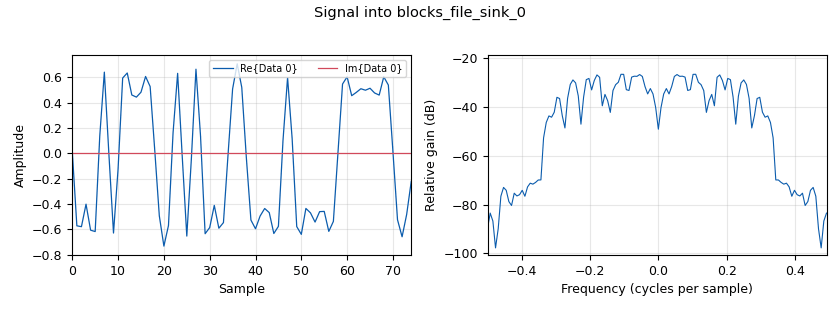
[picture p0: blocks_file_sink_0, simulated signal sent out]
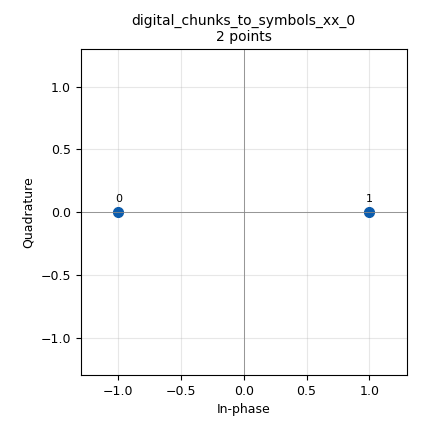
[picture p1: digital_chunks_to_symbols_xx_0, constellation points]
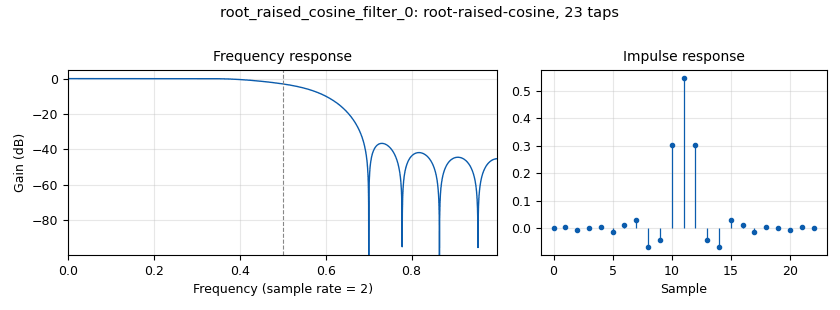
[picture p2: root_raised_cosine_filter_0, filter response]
options:
  parameters:
    copyright: University of Melbourne
    generate_options: qt_gui
    id: modulate_sync_word
    output_language: python
    title: Modulate Sync Word
  states: {}

blocks:
- name: constel
  id: variable_constellation
  parameters:
    precision: '8'
    type: bpsk
  states: {}
- name: excess_bw
  id: variable
  parameters:
    value: '0.35'
  states: {}
- name: nsamps
  id: variable
  parameters:
    value: sps*nsymbs
  states: {}
- name: nsymbs
  id: variable
  parameters:
    value: 8*len(preamble)//constel.bits_per_symbol()
  states: {}
- name: ntaps
  id: variable
  parameters:
    value: 11*sps
  states: {}
- name: preamble
  id: variable
  parameters:
    value: digital.packet_utils.default_access_code_binary
  states: {}
- name: sps
  id: variable
  parameters:
    value: '2'
  states: {}
- name: analog_const_source_x_0
  id: analog_const_source_x
  parameters:
    const: '0'
    type: complex
  states: {}
- name: blocks_file_sink_0
  id: blocks_file_sink
  parameters:
    comment: |-
      Saves modulate sync word samples to 
      binary file. You can load in Python using 
      numpy:

      numpy.fromfile(<filename>, dtype=np.complex64)
    file: modulated_sync_word.bin
    type: complex
  states: {}
- name: blocks_head_0
  id: blocks_head
  parameters:
    num_items: nsamps
    type: complex
  states: {}
- name: blocks_packed_to_unpacked_xx_0
  id: blocks_packed_to_unpacked_xx
  parameters:
    bits_per_chunk: constel.bits_per_symbol()
    endianness: gr.GR_MSB_FIRST
    type: byte
  states: {}
- name: blocks_skiphead_0
  id: blocks_skiphead
  parameters:
    comment: |-
      Skip ramp up samples of RRC
      transmit pulse-shaping filter
    num_items: ntaps//2
    type: complex
  states: {}
- name: blocks_stream_mux_0
  id: blocks_stream_mux
  parameters:
    lengths: (nsymbs, ntaps//2)
    type: complex
  states: {}
- name: blocks_vector_source_x_0
  id: blocks_vector_source_x
  parameters:
    repeat: 'True'
    type: byte
    vector: '[int(x) for x in preamble]'
  states: {}
- name: digital_chunks_to_symbols_xx_0
  id: digital_chunks_to_symbols_xx
  parameters:
    dimension: '1'
    in_type: byte
    out_type: complex
    symbol_table: constel.points()
  states: {}
- name: root_raised_cosine_filter_0
  id: root_raised_cosine_filter
  parameters:
    alpha: excess_bw
    gain: '1.0'
    interp: sps
    ntaps: ntaps
    samp_rate: sps
    sym_rate: '1.0'
    type: interp_fir_filter_ccf
  states: {}

connections:
- [analog_const_source_x_0, '0', blocks_stream_mux_0, '1']
- [blocks_head_0, '0', blocks_file_sink_0, '0']
- [blocks_packed_to_unpacked_xx_0, '0', digital_chunks_to_symbols_xx_0, '0']
- [blocks_skiphead_0, '0', blocks_head_0, '0']
- [blocks_stream_mux_0, '0', root_raised_cosine_filter_0, '0']
- [blocks_vector_source_x_0, '0', blocks_packed_to_unpacked_xx_0, '0']
- [digital_chunks_to_symbols_xx_0, '0', blocks_stream_mux_0, '0']
- [root_raised_cosine_filter_0, '0', blocks_skiphead_0, '0']

metadata:
  file_format: 1
